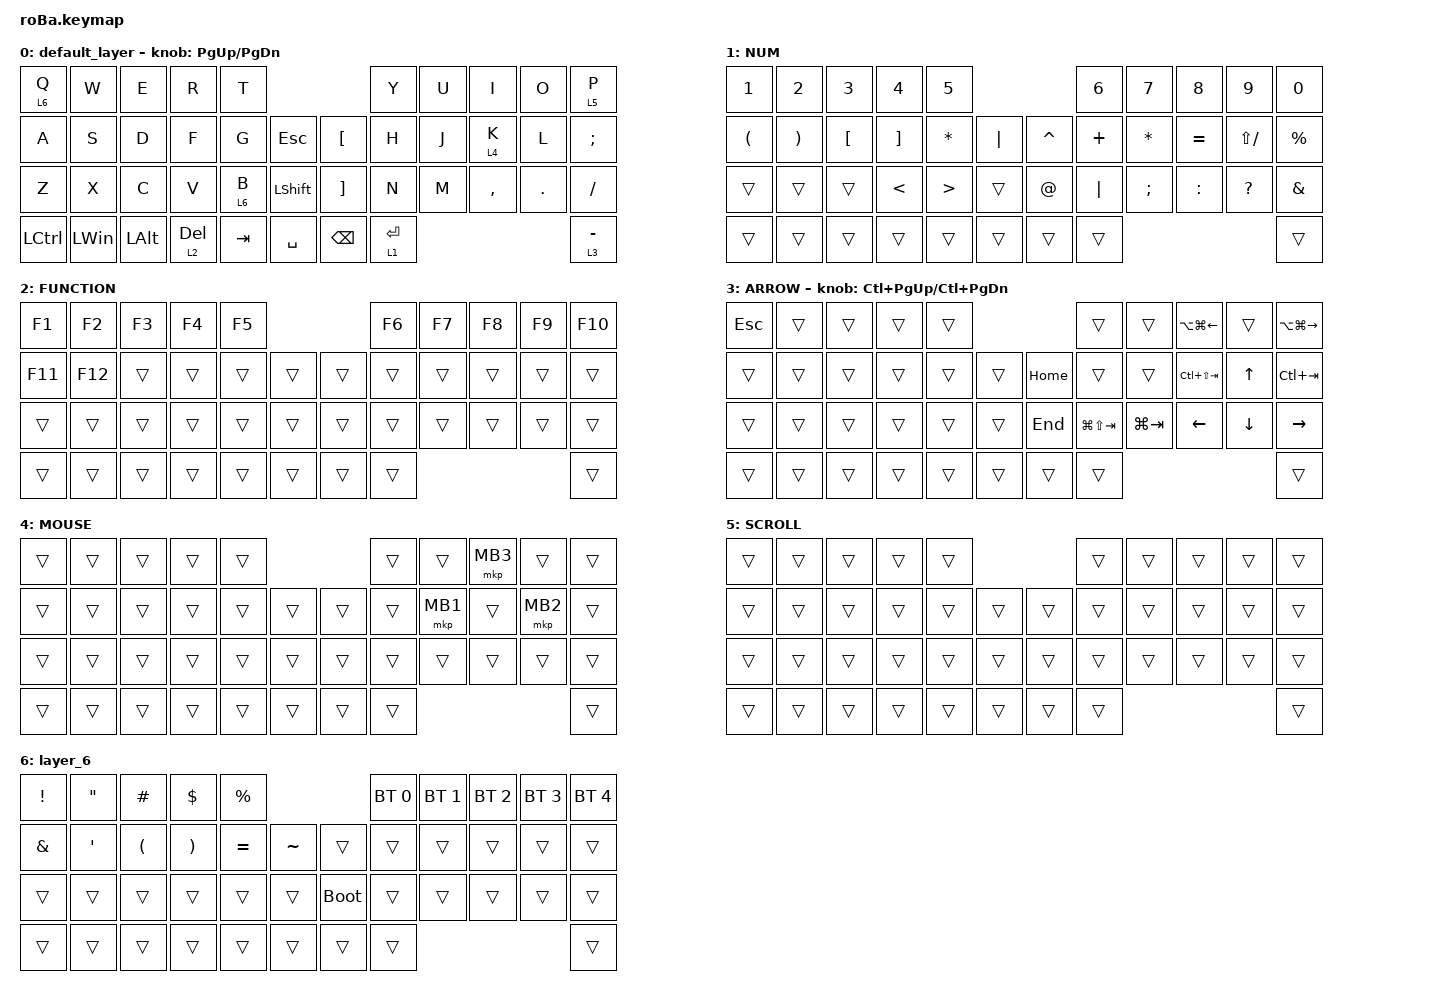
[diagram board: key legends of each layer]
#include <behaviors.dtsi>
#include <dt-bindings/zmk/bt.h>
#include <dt-bindings/zmk/keys.h>
#include <dt-bindings/zmk/pointing.h>

#define MOUSE 4
#define SCROLL 5
#define NUM 6

&mt {
    flavor = "balanced";
    quick-tap-ms = <0>;
};

/ {
    combos {
        compatible = "zmk,combos";

        tab {
            bindings = <&kp TAB>;
            key-positions = <11 12>;
        };

        shift_tab {
            bindings = <&kp LS(TAB)>;
            key-positions = <12 13>;
        };

        muhennkann {
            bindings = <&to_layer_0 INT_MUHENKAN>;
            key-positions = <11 10>;
        };

        double_quotation {
            bindings = <&kp DOUBLE_QUOTES>;
            key-positions = <20 21>;
        };

        eq {
            bindings = <&kp EQUAL>;
            key-positions = <24 25>;
        };
    };

    macros {
        to_layer_0: to_layer_0 {
            compatible = "zmk,behavior-macro-one-param";
            #binding-cells = <1>;
            bindings = <&to 0 &macro_param_1to1 &kp MACRO_PLACEHOLDER>;
            label = "TO_LAYER_0";
        };
    };

    behaviors {
        lt_to_layer_0: lt_to_layer_0 {
            compatible = "zmk,behavior-hold-tap";
            label = "LAYER_TAP_TO_0";
            bindings = <&mo>, <&to_layer_0>;

            #binding-cells = <2>;
            tapping-term-ms = <200>;
        };
    };

    keymap {
        compatible = "zmk,keymap";

        default_layer {
            bindings = <
&lt 6 Q    &kp W         &kp E         &kp R         &kp T                                           &kp Y        &kp U  &kp I      &kp O       &lt 5 P
&kp A      &kp S         &kp D         &kp F         &kp G    &kp ESC             &kp LEFT_BRACKET   &kp H        &kp J  &lt 4 K    &kp L       &kp SEMICOLON
&kp Z      &kp X         &kp C         &kp V         &lt 6 B  &kp LEFT_SHIFT      &kp RIGHT_BRACKET  &kp N        &kp M  &kp COMMA  &kp PERIOD  &kp SLASH
&kp LCTRL  &kp LEFT_WIN  &kp LEFT_ALT  &lt 2 DELETE  &kp TAB  &kp SPACE           &kp BACKSPACE      &lt 1 ENTER                                &lt 3 MINUS
            >;

            sensor-bindings = <&inc_dec_kp PG_UP PAGE_DOWN>;
        };

        NUM {
            bindings = <
&kp NUMBER_1          &kp NUMBER_2           &kp NUMBER_3      &kp NUMBER_4       &kp NUMBER_5                                 &kp NUMBER_6  &kp NUMBER_7   &kp NUMBER_8  &kp NUMBER_9   &kp NUMBER_0
&kp LEFT_PARENTHESIS  &kp RIGHT_PARENTHESIS  &kp LEFT_BRACKET  &kp RIGHT_BRACKET  &kp ASTERISK      &kp PIPE      &kp CARET    &kp PLUS      &kp ASTERISK   &kp EQUAL     &kp LS(SLASH)  &kp PERCENT
&trans                &trans                 &trans            &kp LESS_THAN      &kp GREATER_THAN  &trans        &kp AT_SIGN  &kp PIPE      &kp SEMICOLON  &kp COLON     &kp QUESTION   &kp AMPERSAND
&trans                &trans                 &trans            &trans             &trans            &trans        &trans       &trans                                                    &trans
            >;
        };

        FUNCTION {
            bindings = <
&kp F1   &kp F2   &kp F3  &kp F4  &kp F5                      &kp F6  &kp F7  &kp F8  &kp F9  &kp F10
&kp F11  &kp F12  &trans  &trans  &trans  &trans      &trans  &trans  &trans  &trans  &trans  &trans
&trans   &trans   &trans  &trans  &trans  &trans      &trans  &trans  &trans  &trans  &trans  &trans
&trans   &trans   &trans  &trans  &trans  &trans      &trans  &trans                          &trans
            >;
        };

        ARROW {
            bindings = <
&kp ESCAPE  &trans  &trans  &trans  &trans                        &trans           &trans       &kp LA(LG(LEFT_ARROW))  &trans        &kp LA(LG(RIGHT_ARROW))
&trans      &trans  &trans  &trans  &trans  &trans      &kp HOME  &trans           &trans       &kp LC(LS(TAB))         &kp UP_ARROW  &kp LC(TAB)
&trans      &trans  &trans  &trans  &trans  &trans      &kp END   &kp LG(LS(TAB))  &kp LG(TAB)  &kp LEFT_ARROW          &kp DOWN      &kp RIGHT_ARROW
&trans      &trans  &trans  &trans  &trans  &trans      &trans    &trans                                                              &trans
            >;

            sensor-bindings = <&inc_dec_kp LC(PAGE_UP) LC(PAGE_DOWN)>;
        };

        MOUSE {
            bindings = <
&trans  &trans  &trans  &trans  &trans                      &trans  &trans    &mkp MB3  &trans    &trans
&trans  &trans  &trans  &trans  &trans  &trans      &trans  &trans  &mkp MB1  &trans    &mkp MB2  &trans
&trans  &trans  &trans  &trans  &trans  &trans      &trans  &trans  &trans    &trans    &trans    &trans
&trans  &trans  &trans  &trans  &trans  &trans      &trans  &trans                                &trans
            >;
        };

        SCROLL {
            bindings = <
&trans  &trans  &trans  &trans  &trans                      &trans  &trans  &trans  &trans  &trans
&trans  &trans  &trans  &trans  &trans  &trans      &trans  &trans  &trans  &trans  &trans  &trans
&trans  &trans  &trans  &trans  &trans  &trans      &trans  &trans  &trans  &trans  &trans  &trans
&trans  &trans  &trans  &trans  &trans  &trans      &trans  &trans                          &trans
            >;
        };

        layer_6 {
            bindings = <
&kp EXCLAMATION  &kp DOUBLE_QUOTES  &kp HASH              &kp DOLLAR             &kp PERCENT                              &bt BT_SEL 0  &bt BT_SEL 1  &bt BT_SEL 2  &bt BT_SEL 3  &bt BT_SEL 4
&kp AMPERSAND    &kp SQT            &kp LEFT_PARENTHESIS  &kp RIGHT_PARENTHESIS  &kp EQUAL    &kp TILDE      &trans       &trans        &trans        &trans        &trans        &trans
&trans           &trans             &trans                &trans                 &trans       &trans         &bootloader  &trans        &trans        &trans        &trans        &trans
&trans           &trans             &trans                &trans                 &trans       &trans         &trans       &trans                                                  &trans
            >;
        };
    };
};
